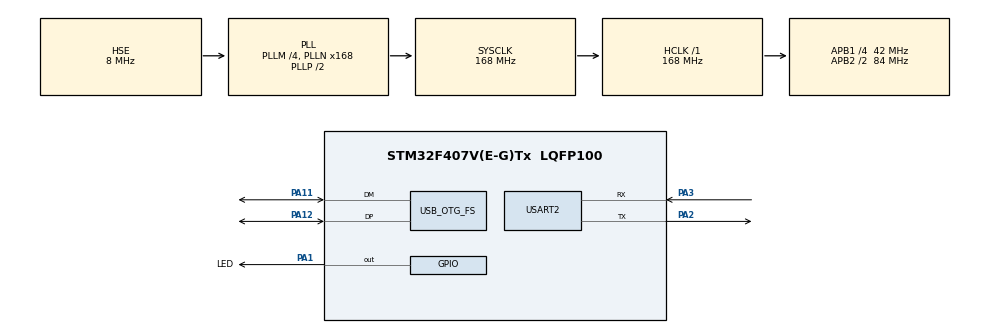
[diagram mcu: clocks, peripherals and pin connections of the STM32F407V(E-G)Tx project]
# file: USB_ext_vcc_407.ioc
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FATFS._FS_RPATH=2
FATFS._MAX_SS=4096
FATFS._USE_CHMOD=1
Mcu.Family=STM32F4
Mcu.Name=STM32F407V(E-G)Tx
Mcu.Package=LQFP100
NVIC.OTG_FS_IRQn=true\:0\:0\:false\:false\:true\:false\:true
NVIC.PriorityGroup=NVIC_PRIORITYGROUP_4
NVIC.TIM8_TRG_COM_TIM14_IRQn=true\:15\:0\:false\:false\:true\:false\:true
NVIC.TimeBase=TIM8_TRG_COM_TIM14_IRQn
NVIC.TimeBaseIP=TIM14
PA1.GPIO_Label=LED
PA1.Signal=GPIO_Output
PA11.Mode=Host_Only
PA11.Signal=USB_OTG_FS_DM
PA12.Mode=Host_Only
PA12.Signal=USB_OTG_FS_DP
PA13.Mode=Serial_Wire
PA13.Signal=SYS_JTMS-SWDIO
PA14.Mode=Serial_Wire
PA14.Signal=SYS_JTCK-SWCLK
PA2.Mode=Asynchronous
PA2.Signal=USART2_TX
PA3.Mode=Asynchronous
PA3.Signal=USART2_RX
PH0-OSC_IN.Mode=HSE-External-Oscillator
PH0-OSC_IN.Signal=RCC_OSC_IN
PH1-OSC_OUT.Mode=HSE-External-Oscillator
PH1-OSC_OUT.Signal=RCC_OSC_OUT
ProjectManager.HeapSize=0x200
ProjectManager.StackSize=0x400
ProjectManager.TargetToolchain=STM32CubeIDE
RCC.48MHZClocksFreq_Value=48000000
RCC.AHBFreq_Value=168000000
RCC.APB1CLKDivider=RCC_HCLK_DIV4
RCC.APB1Freq_Value=42000000
RCC.APB1TimFreq_Value=84000000
RCC.APB2CLKDivider=RCC_HCLK_DIV2
RCC.APB2Freq_Value=84000000
RCC.APB2TimFreq_Value=168000000
RCC.CortexFreq_Value=168000000
RCC.HCLKFreq_Value=168000000
RCC.HSE_VALUE=8000000
RCC.HSI_VALUE=16000000
RCC.LSE_VALUE=32768
RCC.PLLM=4
RCC.PLLN=168
RCC.PLLQ=7
RCC.SYSCLKFreq_VALUE=168000000
RCC.SYSCLKSource=RCC_SYSCLKSOURCE_PLLCLK
RCC.VCOOutputFreq_Value=336000000
USART2.VirtualMode=VM_ASYNC
USB_HOST.USBH_HandleTypeDef-MSC_FS=hUsbHostFS
USB_HOST.VirtualModeFS=Msc
USB_OTG_FS.VirtualMode=Host_Only
USB_OTG_FS.phy_itface=HCD_PHY_EMBEDDED
VP_FATFS_VS_USB.Mode=USB
VP_SYS_VS_tim14.Mode=TIM14
VP_USB_HOST_VS_USB_HOST_MSC_FS.Mode=MSC_FS
board=custom

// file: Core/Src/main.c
/* USER CODE BEGIN Header */
/**
 ******************************************************************************
 * @file           : main.c
 * @brief          : Main program body
 ******************************************************************************
 * @attention
 *
 * Copyright (c) 2023 STMicroelectronics.
 * All rights reserved.
 *
 * This software is licensed under terms that can be found in the LICENSE file
 * in the root directory of this software component.
 * If no LICENSE file comes with this software, it is provided AS-IS.
 *
 ******************************************************************************
 */
/* USER CODE END Header */
#include "main.h"
#include "fatfs.h"
#include "usb_host.h"

/* USER CODE BEGIN Includes */
#include <stdio.h> /* для printf */
/* USER CODE END Includes */

/* USER CODE BEGIN PTD */
extern ApplicationTypeDef Appli_state;
/* USER CODE END PTD */

UART_HandleTypeDef huart2;

/* USER CODE BEGIN PV */
extern uint8_t retUSBH; /* Return value for USBH */
extern char USBHPath[4]; /* USBH logical drive path */
extern FATFS USBHFatFS; /* File system object for USBH logical drive */
extern FIL USBHFile; /* File object for USBH */
FRESULT RES;
UINT Byteswritten;
int Dir_flag;
char hold[100];
/* USER CODE END PV */

void SystemClock_Config(void);
static void MX_GPIO_Init(void);
static void MX_USART2_UART_Init(void);
void MX_USB_HOST_Process(void);

/* USER CODE BEGIN PFP */
int _write(int file, char *ptr, int len) {
	int i;
	HAL_UART_Transmit(&huart2, (uint8_t*) ptr, len, 50);
	for (i = 0; i < len; i++) {
		ITM_SendChar(*ptr++);
	}
	return len;
}
/* USER CODE END PFP */

int main(void) {

	/* MCU Configuration--------------------------------------------------------*/

	/* Reset of all peripherals, Initializes the Flash interface and the Systick. */
	HAL_Init();

	/* Configure the system clock */
	SystemClock_Config();

	/* Initialize all configured peripherals */
	MX_GPIO_Init();
	MX_USART2_UART_Init();
	MX_FATFS_Init();
	MX_USB_HOST_Init();
	/* USER CODE BEGIN 2 */
	printf("Hello world! \r\n");
	/* USER CODE END 2 */

	/* Infinite loop */
	while (1) {
		MX_USB_HOST_Process();

		/* USER CODE BEGIN 3 */
		switch (Appli_state)
		{
		case APPLICATION_IDLE:
			HAL_GPIO_TogglePin(LED_GPIO_Port, LED_Pin); // Flash status
			printf("APPLICATION_IDLE! \r\n");
			HAL_Delay(100);
			break;
		case APPLICATION_START:
			if (f_mount(&USBHFatFS, (const TCHAR*) USBHPath, 0) == FR_OK) {
				HAL_GPIO_WritePin(LED_GPIO_Port, LED_Pin, GPIO_PIN_RESET); // Flash status
				printf("APPLICATION_START! \r\n");
			}
			break;
		case APPLICATION_READY:
			if (f_mkdir((const TCHAR*) "ADC")==FR_OK)
			{
				if(f_chdir("ADC")==FR_OK)
				{
					printf("Falder 'ADC' is CREATED! \r\n");
					HAL_GPIO_WritePin(LED_GPIO_Port, LED_Pin, GPIO_PIN_SET); // Flash status
				}
			}
			if(f_open(&USBHFile,(const TCHAR*)"ADC.TXT",FA_WRITE| FA_OPEN_APPEND)==FR_OK)
			{
				sprintf(hold,"%s", "ADC VALUES NOT PRESENT! \r\n");
				RES= f_write(&USBHFile,(const void*)hold,strlen(hold),&Byteswritten);
				if(RES !=FR_OK || Byteswritten==0)
				{
					return 0;
				}
				else
				{
					for(int n=0;n<3;n++)
					{
						HAL_GPIO_WritePin(LED_GPIO_Port, LED_Pin, GPIO_PIN_SET); // Flash status
						HAL_Delay(250);
						HAL_GPIO_WritePin(LED_GPIO_Port, LED_Pin, GPIO_PIN_RESET); // Flash status
						HAL_Delay(250);
					}
				}
			}
			f_close(&USBHFile);
			HAL_GPIO_WritePin(LED_GPIO_Port, LED_Pin, GPIO_PIN_SET); // Flash status
			printf("APPLICATION_READY! \r\n");
			break;
		case APPLICATION_DISCONNECT:
			HAL_GPIO_WritePin(LED_GPIO_Port, LED_Pin, GPIO_PIN_RESET); // Write status
			HAL_GPIO_TogglePin(LED_GPIO_Port, LED_Pin); // Flash status
			printf("APPLICATION_DISCONNECT! \r\n");
			HAL_Delay(100);
			break;
	    default:
	             /* do nothing */
	        break;
		}
	}
	/* USER CODE END 3 */
}

void SystemClock_Config(void) {
	RCC_OscInitTypeDef RCC_OscInitStruct = { 0 };
	RCC_ClkInitTypeDef RCC_ClkInitStruct = { 0 };

	/** Configure the main internal regulator output voltage
	 */
	__HAL_RCC_PWR_CLK_ENABLE();
	__HAL_PWR_VOLTAGESCALING_CONFIG(PWR_REGULATOR_VOLTAGE_SCALE1);
	/** Initializes the RCC Oscillators according to the specified parameters
	 * in the RCC_OscInitTypeDef structure.
	 */
	RCC_OscInitStruct.OscillatorType = RCC_OSCILLATORTYPE_HSE;
	RCC_OscInitStruct.HSEState = RCC_HSE_ON;
	RCC_OscInitStruct.PLL.PLLState = RCC_PLL_ON;
	RCC_OscInitStruct.PLL.PLLSource = RCC_PLLSOURCE_HSE;
	RCC_OscInitStruct.PLL.PLLM = 4;
	RCC_OscInitStruct.PLL.PLLN = 168;
	RCC_OscInitStruct.PLL.PLLP = RCC_PLLP_DIV2;
	RCC_OscInitStruct.PLL.PLLQ = 7;
	if (HAL_RCC_OscConfig(&RCC_OscInitStruct) != HAL_OK) {
		Error_Handler();
	}
	/** Initializes the CPU, AHB and APB buses clocks
	 */
	RCC_ClkInitStruct.ClockType = RCC_CLOCKTYPE_HCLK | RCC_CLOCKTYPE_SYSCLK
			| RCC_CLOCKTYPE_PCLK1 | RCC_CLOCKTYPE_PCLK2;
	RCC_ClkInitStruct.SYSCLKSource = RCC_SYSCLKSOURCE_PLLCLK;
	RCC_ClkInitStruct.AHBCLKDivider = RCC_SYSCLK_DIV1;
	RCC_ClkInitStruct.APB1CLKDivider = RCC_HCLK_DIV4;
	RCC_ClkInitStruct.APB2CLKDivider = RCC_HCLK_DIV2;

	if (HAL_RCC_ClockConfig(&RCC_ClkInitStruct, FLASH_LATENCY_5) != HAL_OK) {
		Error_Handler();
	}
}

static void MX_USART2_UART_Init(void) {

	huart2.Instance = USART2;
	huart2.Init.BaudRate = 115200;
	huart2.Init.WordLength = UART_WORDLENGTH_8B;
	huart2.Init.StopBits = UART_STOPBITS_1;
	huart2.Init.Parity = UART_PARITY_NONE;
	huart2.Init.Mode = UART_MODE_TX_RX;
	huart2.Init.HwFlowCtl = UART_HWCONTROL_NONE;
	huart2.Init.OverSampling = UART_OVERSAMPLING_16;
	if (HAL_UART_Init(&huart2) != HAL_OK) {
		Error_Handler();
	}

}

static void MX_GPIO_Init(void) {
	GPIO_InitTypeDef GPIO_InitStruct = { 0 };

	/* GPIO Ports Clock Enable */
	__HAL_RCC_GPIOH_CLK_ENABLE();
	__HAL_RCC_GPIOA_CLK_ENABLE();

	/*Configure GPIO pin Output Level */
	HAL_GPIO_WritePin(LED_GPIO_Port, LED_Pin, GPIO_PIN_RESET);

	/*Configure GPIO pin : LED_Pin */
	GPIO_InitStruct.Pin = LED_Pin;
	GPIO_InitStruct.Mode = GPIO_MODE_OUTPUT_PP;
	GPIO_InitStruct.Pull = GPIO_NOPULL;
	GPIO_InitStruct.Speed = GPIO_SPEED_FREQ_LOW;
	HAL_GPIO_Init(LED_GPIO_Port, &GPIO_InitStruct);

}

void HAL_TIM_PeriodElapsedCallback(TIM_HandleTypeDef *htim) {
	if (htim->Instance == TIM14) {
		HAL_IncTick();
	}
}

void Error_Handler(void) {
	__disable_irq();
	while (1) {
	}
}
